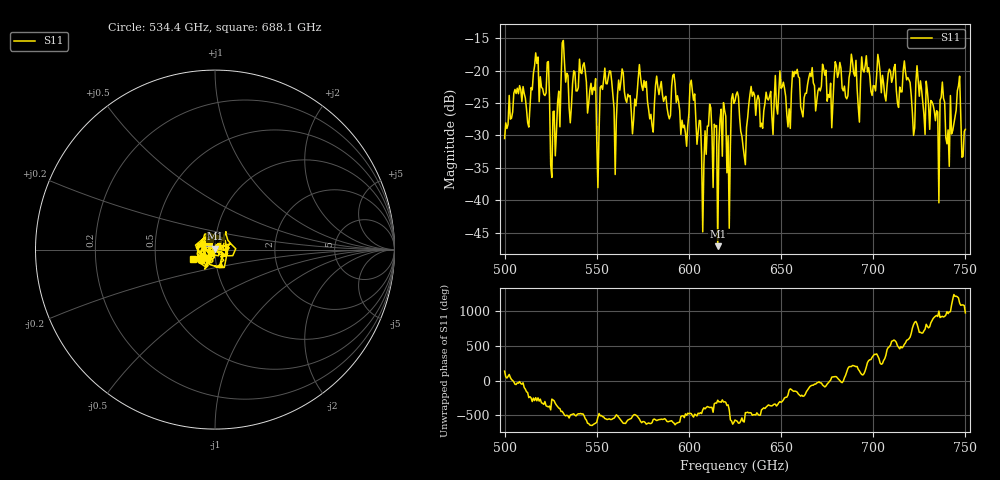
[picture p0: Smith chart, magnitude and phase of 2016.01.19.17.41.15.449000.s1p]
!Created with skrf (http://scikit-rf.org).
# GHz S RI R 50.0
!freq ReS11 ImS11
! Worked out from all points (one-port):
!   401 points, 500 GHz to 750 GHz, reference 50 ohm
!   lowest |S11| = -47.1 dB at 615.6 GHz (marker M1), VSWR 1.01, Z = 50.1 + j0.434 ohm
!   |S11| at or under -10 dB: start of sweep to end of sweep
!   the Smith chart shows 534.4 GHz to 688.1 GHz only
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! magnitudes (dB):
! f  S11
! 500 GHz  -30.5
! 516.9 GHz  -17.3
! 523.1 GHz  -18.7
! 526.2 GHz  -26.3
! 531.2 GHz  -15.7
! 541.9 GHz  -20.5
! 551.2 GHz  -29.4
! 553.1 GHz  -22.9
! 560 GHz  -36.0
! 562.5 GHz  -23.0
! 593.8 GHz  -23.9
! 598.1 GHz  -29.7
! 601.9 GHz  -23.1
! 608.1 GHz  -34.5
! 611.2 GHz  -25.2
! 615.6 GHz  -47.1
! 618.8 GHz  -24.9
! 621.9 GHz  -44.3
! 625 GHz  -24.7
! 629.4 GHz  -31.7
! 634.4 GHz  -24.0
! 656.2 GHz  -20.1
! 687.5 GHz  -20.1
! 718.8 GHz  -21.1
! 737.5 GHz  -21.8
! 740 GHz  -31.3
! 746.2 GHz  -22.3
! 750 GHz  -29.0
